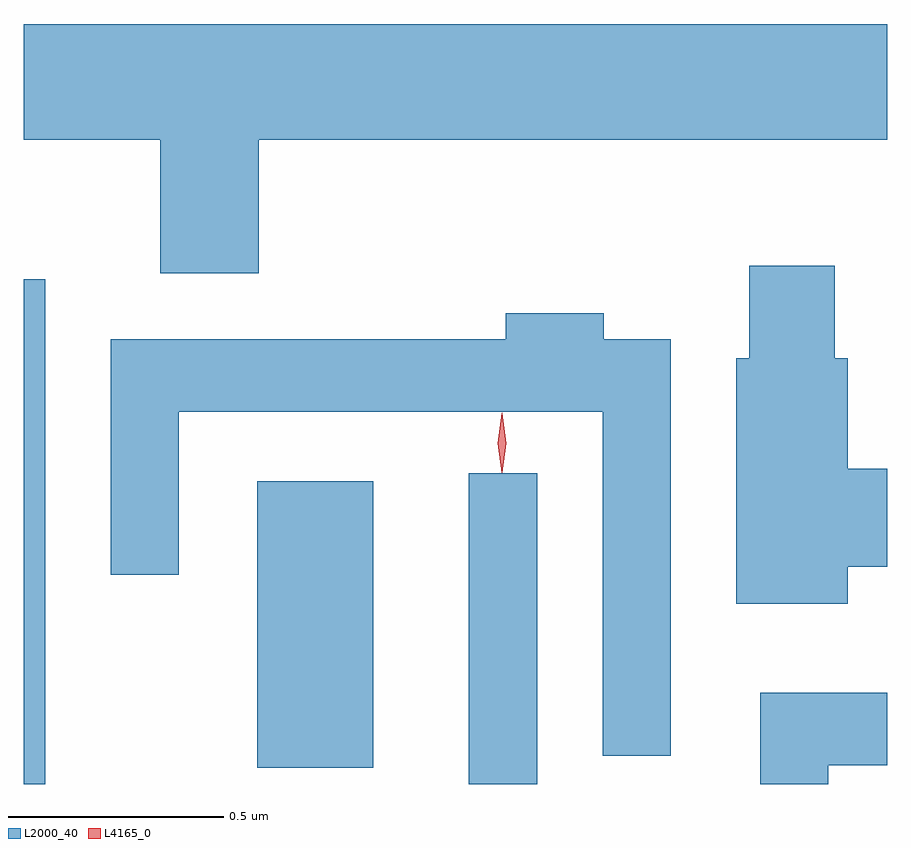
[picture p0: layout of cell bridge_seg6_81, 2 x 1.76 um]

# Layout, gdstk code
import gdstk
lib = gdstk.Library(unit=1e-6, precision=1e-09)
def R(c, l, rs):  # rectangles x0, y0, x1, y1
    for r in rs: c.add(gdstk.rectangle(r[:2], r[2:], *l))
def P(c, l, *ps):  # polygons
    for p in ps: c.add(gdstk.Polygon(p, *l))
L2000_40 = (2000, 40)
L4165_0 = (4165, 0)

bridge_seg6_81 = lib.new_cell('bridge_seg6_81')
R(bridge_seg6_81, L2000_40, [(1286.615,1666.203,1286.664,1667.373), (1287.646,1666.203,1287.804,1666.923), (1287.156,1666.241,1287.424,1666.904)])
P(bridge_seg6_81, L2000_40, [(1287.159,1667.696),(1288.615,1667.696),(1288.615,1667.964),(1286.615,1667.964),(1286.615,1667.696),(1286.931,1667.696),(1286.931,1667.386),(1287.159,1667.386)],
  [(1288.524,1666.706),(1288.615,1666.706),(1288.615,1666.934),(1288.524,1666.934),(1288.524,1667.189),(1288.494,1667.189),(1288.494,1667.404),(1288.296,1667.404),(1288.296,1667.189),(1288.266,1667.189),(1288.266,1666.621),(1288.524,1666.621)],
  [(1288.114,1667.234),(1287.959,1667.234),(1287.959,1667.294),(1287.731,1667.294),(1287.731,1667.234),(1286.816,1667.234),(1286.816,1666.688),(1286.974,1666.688),(1286.974,1667.066),(1287.956,1667.066),(1287.956,1666.268),(1288.114,1666.268)],
  [(1288.479,1666.246),(1288.615,1666.246),(1288.615,1666.414),(1288.321,1666.414),(1288.321,1666.203),(1288.479,1666.203)])
P(bridge_seg6_81, L4165_0, [(1287.722,1666.924),(1287.713,1666.993),(1287.722,1667.062),(1287.723,1667.063),(1287.723,1667.062),(1287.733,1666.993),(1287.723,1666.924),(1287.723,1666.924)])

lib.write_gds('bridge_seg6_81.gds')
